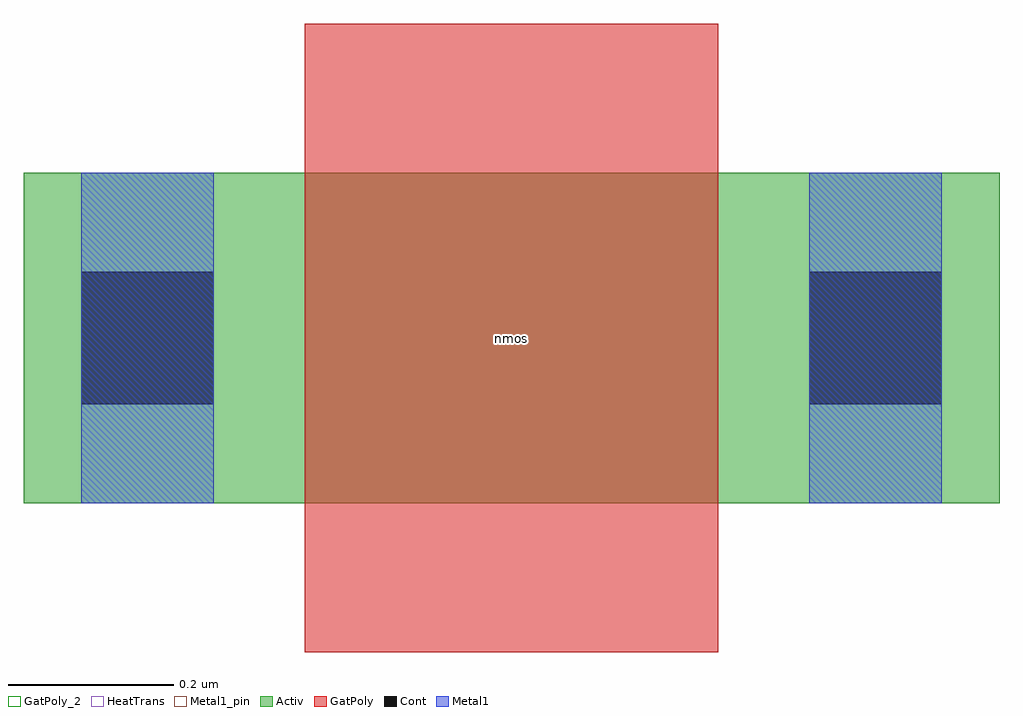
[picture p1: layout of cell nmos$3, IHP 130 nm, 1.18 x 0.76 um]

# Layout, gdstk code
import gdstk
lib = gdstk.Library(unit=1e-6, precision=1e-09)
def R(c, l, rs):  # rectangles x0, y0, x1, y1
    for r in rs: c.add(gdstk.rectangle(r[:2], r[2:], *l))
Activ = (1, 0)
GatPoly = (5, 0)
GatPoly_2 = (5, 2)
Cont = (6, 0)
Metal1 = (8, 0)
Metal1_pin = (8, 2)
HeatTrans = (51, 0)

nmos_3 = lib.new_cell('nmos$3')
R(nmos_3, Activ, [(0,0,0.3,0.3), (0,0,1.18,0.4), (0.88,0,1.18,0.3)])
R(nmos_3, GatPoly, [(0.34,-0.18,0.84,0.58)])
R(nmos_3, GatPoly_2, [(0.34,-0.18,0.84,0.58)])
R(nmos_3, Cont, [(0.07,0.12,0.23,0.28), (0.95,0.12,1.11,0.28)])
R(nmos_3, Metal1, [(0.07,0,0.23,0.4), (0.95,0,1.11,0.4)])
R(nmos_3, Metal1_pin, [(0.07,0,0.23,0.4), (0.95,0,1.11,0.4)])
R(nmos_3, HeatTrans, [(0.34,-0.18,0.84,0.58)])
nmos_3.add(gdstk.Label('nmos', (0.59,0.2), layer=63, texttype=0))
nmos_3.add(gdstk.Label('nmos', (0.59,0.2), layer=51, texttype=0))

lib.write_gds('nmos_3.gds')
